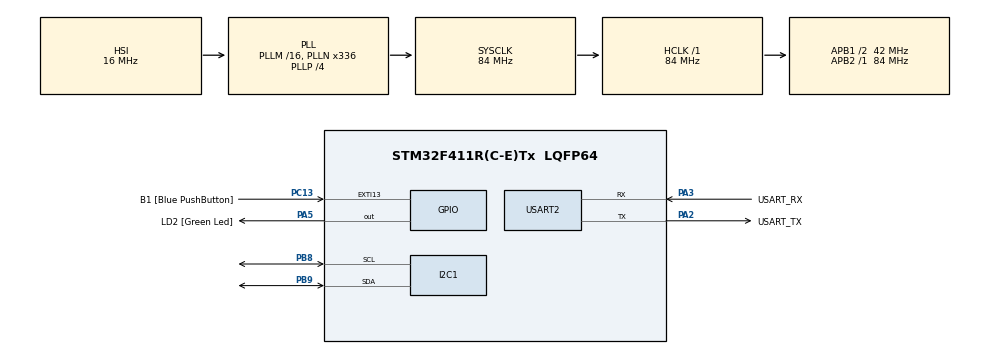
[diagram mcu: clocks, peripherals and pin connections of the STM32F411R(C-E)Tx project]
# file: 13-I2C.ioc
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Mcu.Family=STM32F4
PC15-OSC32_OUT.Mode=LSE-External-Oscillator
RCC.CortexFreq_Value=84000000
NVIC.I2C1_EV_IRQn=true\:0\:0\:false\:false\:true\:true\:true
PC13-ANTI_TAMP.GPIO_Label=B1 [Blue PushButton]
PA14.GPIO_Label=TCK
PH1\ -\ OSC_OUT.Mode=HSE-External-Clock-Source
RCC.APB1CLKDivider=RCC_HCLK_DIV2
PC14-OSC32_IN.Signal=RCC_OSC32_IN
RCC.SYSCLKSource=RCC_SYSCLKSOURCE_PLLCLK
ProjectManager.StackSize=0x400
PA13.Signal=SYS_JTMS-SWDIO
PA3.Mode=Asynchronous
PH0\ -\ OSC_IN.Mode=HSE-External-Clock-Source
PH0\ -\ OSC_IN.Signal=RCC_OSC_IN
ProjectManager.TargetToolchain=STM32CubeIDE
I2C1.I2C_Mode=I2C_Fast
RCC.HCLKFreq_Value=84000000
PB9.Mode=I2C
RCC.APB2TimFreq_Value=84000000
I2C1.AddressingMode=I2C_ADDRESSINGMODE_7BIT
PC15-OSC32_OUT.Signal=RCC_OSC32_OUT
RCC.AHBFreq_Value=84000000
PA5.Signal=GPIO_Output
RCC.HSE_VALUE=8000000
PH1\ -\ OSC_OUT.Signal=RCC_OSC_OUT
board=NUCLEO-F411RE
PC13-ANTI_TAMP.Signal=GPXTI13
RCC.VCOOutputFreq_Value=336000000
RCC.APB2Freq_Value=84000000
PC14-OSC32_IN.Mode=LSE-External-Oscillator
PA14.Mode=Serial_Wire
PA13.Mode=Serial_Wire
NVIC.I2C1_ER_IRQn=true\:0\:0\:false\:false\:true\:true\:true
Mcu.Name=STM32F411R(C-E)Tx
PA2.Signal=USART2_TX
PA13.GPIO_Label=TMS
RCC.FLatency-AdvancedSettings=FLASH_LATENCY_2
RCC.48MHZClocksFreq_Value=84000000
PB3.Signal=SYS_JTDO-SWO
RCC.SYSCLKFreq_VALUE=84000000
Mcu.Package=LQFP64
PB9.Signal=I2C1_SDA
PA5.GPIO_Label=LD2 [Green Led]
USART2.VirtualMode=VM_ASYNC
PC13-ANTI_TAMP.GPIO_ModeDefaultEXTI=GPIO_MODE_IT_FALLING
PA2.GPIO_Label=USART_TX
PA14.Signal=SYS_JTCK-SWCLK
ProjectManager.HeapSize=0x200
RCC.HSI_VALUE=16000000
RCC.PLLP=RCC_PLLP_DIV4
NVIC.PriorityGroup=NVIC_PRIORITYGROUP_0
PB8.Mode=I2C
RCC.PLLN=336
RCC.APB1TimFreq_Value=84000000
PA2.Mode=Asynchronous
PB8.Signal=I2C1_SCL
RCC.APB1Freq_Value=42000000
PA3.GPIO_Label=USART_RX
PA3.Signal=USART2_RX
PB3.GPIO_Label=SWO

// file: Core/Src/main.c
/* USER CODE BEGIN Header */
/**
 ******************************************************************************
 * @file           : main.c
 * @brief          : Main program body
 ******************************************************************************
 * @attention
 *
 * <h2><center>&copy; Copyright (c) 2021 STMicroelectronics.
 * All rights reserved.</center></h2>
 *
 * This software component is licensed by ST under BSD 3-Clause license,
 * the "License"; You may not use this file except in compliance with the
 * License. You may obtain a copy of the License at:
 *                        opensource.org/licenses/BSD-3-Clause
 *
 ******************************************************************************
 */
/* USER CODE END Header */
#include "main.h"

/* USER CODE BEGIN PD */
#define EEPROM_ADDR 0b10100000
#define IOEXPD_ADDR 0b01000000
/* USER CODE END PD */

I2C_HandleTypeDef hi2c1;

UART_HandleTypeDef huart2;

/* USER CODE BEGIN PV */
uint8_t eepromExampleWriteFlag = 0;
uint8_t eepromExampleReadFlag = 0;
uint8_t IOExpdrExampleWriteFlag = 0;
uint8_t IOExpdrExampleReadFlag = 0;
uint8_t eepromDataReadBack[4];
uint8_t IOExpdrDataReadBack;
uint8_t IOExpdrDataWrite = 0b11111111;

GPIO_PinState Button[2] = { 0 };
/* USER CODE END PV */

void SystemClock_Config(void);
static void MX_GPIO_Init(void);
static void MX_USART2_UART_Init(void);
static void MX_I2C1_Init(void);
/* USER CODE BEGIN PFP */
//void EEPROMWriteExample(uint8_t edata);
void EEPROMWriteExample();
void EEPROMReadExample(uint8_t *Rdata, uint16_t len);

void IOExpenderInit();
void IOExpenderReadPinA(uint8_t *Rdata);
void IOExpenderWritePinB(uint8_t Wdata);

/* USER CODE END PFP */

int main(void) {

	/* MCU Configuration--------------------------------------------------------*/

	/* Reset of all peripherals, Initializes the Flash interface and the Systick. */
	HAL_Init();

	/* Configure the system clock */
	SystemClock_Config();

	/* Initialize all configured peripherals */
	MX_GPIO_Init();
	MX_USART2_UART_Init();
	MX_I2C1_Init();
	/* USER CODE BEGIN 2 */
	HAL_Delay(100);
	IOExpenderInit();
	/* USER CODE END 2 */

	/* Infinite loop */
	/* USER CODE BEGIN WHILE */
	while (1) {
		Button[0] = HAL_GPIO_ReadPin(GPIOC, GPIO_PIN_13);

		if (Button[0] == 0 && Button[1] == 1) {// press button
			IOExpdrExampleReadFlag = 1;
			eepromExampleWriteFlag = 1;
//			eepromExampleReadFlag = 1;
//			IOExpdrExampleWriteFlag = 1;
//
//			IOExpenderReadPinA(&IOExpdrDataReadBack);
//			HAL_Delay(10);
//
//			EEPROMWriteExample();
//			HAL_Delay(10);
		}

		Button[1] = Button[0];

		IOExpenderReadPinA(&IOExpdrDataReadBack);
		HAL_Delay(10);

		EEPROMWriteExample();
		HAL_Delay(10);

		eepromExampleReadFlag = 1;
		EEPROMReadExample(eepromDataReadBack, 4);
		HAL_Delay(10);

		IOExpdrDataWrite = (eepromDataReadBack[3] << 3)
				+ (eepromDataReadBack[2] << 2) + (eepromDataReadBack[1] << 1)
				+ (eepromDataReadBack[0]);

		IOExpdrExampleWriteFlag = 1;
		IOExpenderWritePinB(IOExpdrDataWrite);
		HAL_Delay(10);

		/* USER CODE END WHILE */

	}
}

void SystemClock_Config(void) {
	RCC_OscInitTypeDef RCC_OscInitStruct = { 0 };
	RCC_ClkInitTypeDef RCC_ClkInitStruct = { 0 };

	/** Configure the main internal regulator output voltage
	 */
	__HAL_RCC_PWR_CLK_ENABLE();
	__HAL_PWR_VOLTAGESCALING_CONFIG(PWR_REGULATOR_VOLTAGE_SCALE1);
	/** Initializes the RCC Oscillators according to the specified parameters
	 * in the RCC_OscInitTypeDef structure.
	 */
	RCC_OscInitStruct.OscillatorType = RCC_OSCILLATORTYPE_HSI;
	RCC_OscInitStruct.HSIState = RCC_HSI_ON;
	RCC_OscInitStruct.HSICalibrationValue = RCC_HSICALIBRATION_DEFAULT;
	RCC_OscInitStruct.PLL.PLLState = RCC_PLL_ON;
	RCC_OscInitStruct.PLL.PLLSource = RCC_PLLSOURCE_HSI;
	RCC_OscInitStruct.PLL.PLLM = 16;
	RCC_OscInitStruct.PLL.PLLN = 336;
	RCC_OscInitStruct.PLL.PLLP = RCC_PLLP_DIV4;
	RCC_OscInitStruct.PLL.PLLQ = 4;
	if (HAL_RCC_OscConfig(&RCC_OscInitStruct) != HAL_OK) {
		Error_Handler();
	}
	/** Initializes the CPU, AHB and APB buses clocks
	 */
	RCC_ClkInitStruct.ClockType = RCC_CLOCKTYPE_HCLK | RCC_CLOCKTYPE_SYSCLK
			| RCC_CLOCKTYPE_PCLK1 | RCC_CLOCKTYPE_PCLK2;
	RCC_ClkInitStruct.SYSCLKSource = RCC_SYSCLKSOURCE_PLLCLK;
	RCC_ClkInitStruct.AHBCLKDivider = RCC_SYSCLK_DIV1;
	RCC_ClkInitStruct.APB1CLKDivider = RCC_HCLK_DIV2;
	RCC_ClkInitStruct.APB2CLKDivider = RCC_HCLK_DIV1;

	if (HAL_RCC_ClockConfig(&RCC_ClkInitStruct, FLASH_LATENCY_2) != HAL_OK) {
		Error_Handler();
	}
}

static void MX_I2C1_Init(void) {

	hi2c1.Instance = I2C1;
	hi2c1.Init.ClockSpeed = 400000;
	hi2c1.Init.DutyCycle = I2C_DUTYCYCLE_2;
	hi2c1.Init.OwnAddress1 = 0;
	hi2c1.Init.AddressingMode = I2C_ADDRESSINGMODE_7BIT;
	hi2c1.Init.DualAddressMode = I2C_DUALADDRESS_DISABLE;
	hi2c1.Init.OwnAddress2 = 0;
	hi2c1.Init.GeneralCallMode = I2C_GENERALCALL_DISABLE;
	hi2c1.Init.NoStretchMode = I2C_NOSTRETCH_DISABLE;
	if (HAL_I2C_Init(&hi2c1) != HAL_OK) {
		Error_Handler();
	}

}

static void MX_USART2_UART_Init(void) {

	huart2.Instance = USART2;
	huart2.Init.BaudRate = 115200;
	huart2.Init.WordLength = UART_WORDLENGTH_8B;
	huart2.Init.StopBits = UART_STOPBITS_1;
	huart2.Init.Parity = UART_PARITY_NONE;
	huart2.Init.Mode = UART_MODE_TX_RX;
	huart2.Init.HwFlowCtl = UART_HWCONTROL_NONE;
	huart2.Init.OverSampling = UART_OVERSAMPLING_16;
	if (HAL_UART_Init(&huart2) != HAL_OK) {
		Error_Handler();
	}

}

static void MX_GPIO_Init(void) {
	GPIO_InitTypeDef GPIO_InitStruct = { 0 };

	/* GPIO Ports Clock Enable */
	__HAL_RCC_GPIOC_CLK_ENABLE();
	__HAL_RCC_GPIOH_CLK_ENABLE();
	__HAL_RCC_GPIOA_CLK_ENABLE();
	__HAL_RCC_GPIOB_CLK_ENABLE();

	/*Configure GPIO pin Output Level */
	HAL_GPIO_WritePin(LD2_GPIO_Port, LD2_Pin, GPIO_PIN_RESET);

	/*Configure GPIO pin : B1_Pin */
	GPIO_InitStruct.Pin = B1_Pin;
	GPIO_InitStruct.Mode = GPIO_MODE_IT_FALLING;
	GPIO_InitStruct.Pull = GPIO_NOPULL;
	HAL_GPIO_Init(B1_GPIO_Port, &GPIO_InitStruct);

	/*Configure GPIO pin : LD2_Pin */
	GPIO_InitStruct.Pin = LD2_Pin;
	GPIO_InitStruct.Mode = GPIO_MODE_OUTPUT_PP;
	GPIO_InitStruct.Pull = GPIO_NOPULL;
	GPIO_InitStruct.Speed = GPIO_SPEED_FREQ_LOW;
	HAL_GPIO_Init(LD2_GPIO_Port, &GPIO_InitStruct);

}

/* USER CODE BEGIN 4 */
static uint8_t data[4] = { 0 };
void EEPROMWriteExample() {
	if (eepromExampleWriteFlag && hi2c1.State == HAL_I2C_STATE_READY) {

		data[0] = 0b0001 & (IOExpdrDataReadBack);
		data[1] = 0b0001 & (IOExpdrDataReadBack >> 1);
		data[2] = 0b0001 & (IOExpdrDataReadBack >> 2);
		data[3] = 0b0001 & (IOExpdrDataReadBack >> 3);
		HAL_I2C_Mem_Write_IT(&hi2c1, EEPROM_ADDR, 0x23, I2C_MEMADD_SIZE_16BIT,
				data, 4);

		eepromExampleWriteFlag = 0;
	}
}
void EEPROMReadExample(uint8_t *Rdata, uint16_t len) {
	if (eepromExampleReadFlag && hi2c1.State == HAL_I2C_STATE_READY) {

		HAL_I2C_Mem_Read_IT(&hi2c1, EEPROM_ADDR, 0x23, I2C_MEMADD_SIZE_16BIT,
				Rdata, len);
		eepromExampleReadFlag = 0;
	}
}
void IOExpenderInit() {
	//Init All
	static uint8_t Setting[0x16] = { 0xFF, 0x00, 0x00, 0x00, 0x00, 0x00, 0x00,
			0x00, 0x00, 0x00, 0x00, 0x00, 0xFF, 0x00, 0x00, 0x00, 0x00, 0x00,
			0x00, 0x00, 0x00, 0x00 };
	HAL_I2C_Mem_Write(&hi2c1, IOEXPD_ADDR, 0x00, I2C_MEMADD_SIZE_8BIT, Setting,
			0x16, 100);
}
void IOExpenderReadPinA(uint8_t *Rdata) {
	if (IOExpdrExampleReadFlag && hi2c1.State == HAL_I2C_STATE_READY) {
		HAL_I2C_Mem_Read_IT(&hi2c1, IOEXPD_ADDR, 0x12, I2C_MEMADD_SIZE_8BIT,
				Rdata, 1);
		IOExpdrExampleReadFlag = 0;
	}
}
void IOExpenderWritePinB(uint8_t Wdata) {
	if (IOExpdrExampleWriteFlag && hi2c1.State == HAL_I2C_STATE_READY) {
		static uint8_t data;
		data = Wdata;
		HAL_I2C_Mem_Write_IT(&hi2c1, IOEXPD_ADDR, 0x15, I2C_MEMADD_SIZE_8BIT,
				&data, 1);
		IOExpdrExampleWriteFlag = 0;
	}
}
/* USER CODE END 4 */

void Error_Handler(void) {
	__disable_irq();
	while (1) {
	}
}

/************************ (C) COPYRIGHT STMicroelectronics *****END OF FILE****/
